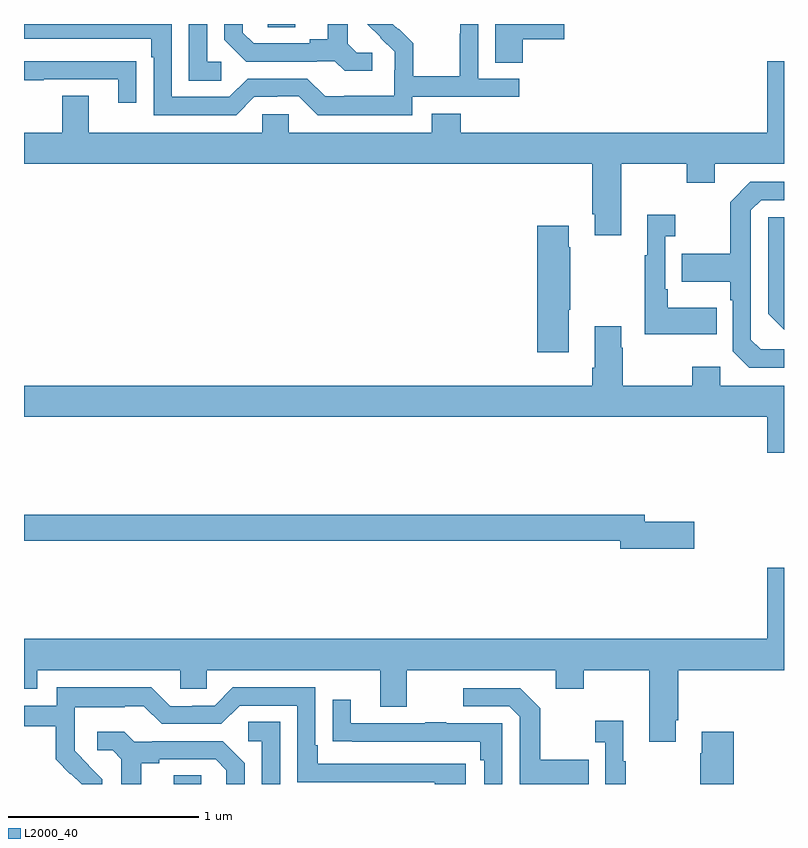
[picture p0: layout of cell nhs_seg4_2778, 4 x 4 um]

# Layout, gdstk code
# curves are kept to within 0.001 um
import gdstk
lib = gdstk.Library(unit=1e-6, precision=1e-09)
def R(c, l, rs):  # rectangles x0, y0, x1, y1
    for r in rs: c.add(gdstk.rectangle(r[:2], r[2:], *l))
def P(c, l, *ps):  # polygons
    for p in ps: c.add(gdstk.Polygon(p, *l))
L2000_40 = (2000, 40)

nhs_seg4_2778 = lib.new_cell('nhs_seg4_2778')
R(nhs_seg4_2778, L2000_40, [(257.789,782.9,257.934,782.945), (258.282,786.883,258.427,786.9)])
P(nhs_seg4_2778, L2000_40, [(259.044,786.516),(259.606,786.516),(259.606,786.612),(259.392,786.612),(259.392,786.9),(259.296,786.9),(259.296,786.848),(259.294,786.848),(259.294,786.625),(259.049,786.625),(259.049,786.799),(258.972,786.876),(258.969,786.873),(258.942,786.9),(258.806,786.9),(258.95,786.754),(258.95,786.657),(258.948,786.657),(258.948,786.523),(258.685,786.523),(258.685,786.519),(258.585,786.519),(258.492,786.612),(258.177,786.612),(258.081,786.516),(257.778,786.516),(257.778,786.9),(257,786.9),(257,786.822),(257.669,786.822),(257.669,786.725),(257.682,786.725),(257.682,786.42),(258.117,786.42),(258.213,786.516),(258.332,786.516),(258.332,786.519),(258.447,786.519),(258.547,786.419),(259.044,786.419)],
  [(258.037,786.702),(257.964,786.702),(257.964,786.9),(257.868,786.9),(257.868,786.601),(258.037,786.601)],
  [(259.625,786.821),(259.843,786.821),(259.843,786.9),(259.481,786.9),(259.481,786.697),(259.625,786.697)],
  [(258.832,786.75),(258.75,786.75),(258.703,786.797),(258.703,786.9),(258.599,786.9),(258.599,786.821),(258.503,786.821),(258.503,786.798),(258.208,786.798),(258.151,786.855),(258.151,786.9),(258.054,786.9),(258.054,786.818),(258.17,786.702),(258.542,786.702),(258.542,786.705),(258.636,786.705),(258.688,786.653),(258.832,786.653)],
  [(257.591,786.704),(257.489,786.704),(257.489,786.705),(257,786.705),(257,786.604),(257.105,786.604),(257.105,786.609),(257.495,786.609),(257.495,786.486),(257.591,786.486)],
  [(259.298,786.427),(259.145,786.427),(259.145,786.328),(258.393,786.328),(258.393,786.426),(258.255,786.426),(258.255,786.328),(257.341,786.328),(257.341,786.523),(257.201,786.523),(257.201,786.328),(257,786.328),(257,786.164),(259.991,786.164),(259.991,785.899),(260.003,785.899),(260.003,785.787),(260.143,785.787),(260.143,786.164),(260.488,786.164),(260.488,786.065),(260.635,786.065),(260.635,786.164),(261,786.164),(261,786.703),(260.912,786.703),(260.912,786.328),(259.298,786.328)],
  [(261,785.187),(260.877,785.187),(260.826,785.238),(260.826,785.919),(260.88,785.973),(261,785.973),(261,786.069),(260.823,786.069),(260.718,785.963),(260.718,785.691),(260.461,785.691),(260.461,785.543),(260.718,785.543),(260.718,785.447),(260.73,785.447),(260.73,785.178),(260.817,785.091),(261,785.091)],
  [(260.645,785.407),(260.389,785.407),(260.389,785.503),(260.376,785.503),(260.376,785.783),(260.428,785.783),(260.428,785.896),(260.279,785.896),(260.279,785.683),(260.267,785.683),(260.267,785.267),(260.645,785.267)],
  [(261,785.883),(260.916,785.883),(260.916,785.376),(261,785.292)],
  [(259.867,785.395),(259.875,785.395),(259.875,785.726),(259.867,785.726),(259.867,785.839),(259.7,785.839),(259.7,785.172),(259.867,785.172)],
  [(261,784.996),(260.664,784.996),(260.664,785.095),(260.517,785.095),(260.517,784.996),(260.151,784.996),(260.151,785.195),(260.143,785.195),(260.143,785.308),(260.003,785.308),(260.003,785.092),(259.991,785.092),(259.991,784.996),(257,784.996),(257,784.832),(260.912,784.832),(260.912,784.644),(261,784.644)],
  [(260.527,784.28),(260.266,784.28),(260.266,784.316),(257,784.316),(257,784.18),(260.138,784.18),(260.138,784.138),(260.527,784.138)],
  [(260.431,783.235),(260.444,783.235),(260.444,783.5),(261,783.5),(261,784.039),(260.912,784.039),(260.912,783.664),(257,783.664),(257,783.401),(257.071,783.401),(257.071,783.5),(257.823,783.5),(257.823,783.402),(257.961,783.402),(257.961,783.5),(258.875,783.5),(258.875,783.306),(259.015,783.306),(259.015,783.5),(259.799,783.5),(259.799,783.401),(259.947,783.401),(259.947,783.5),(260.291,783.5),(260.291,783.123),(260.431,783.123)],
  [(257.412,782.926),(257.266,783.074),(257.266,783.171),(257.268,783.171),(257.268,783.305),(257.531,783.305),(257.531,783.309),(257.631,783.309),(257.724,783.216),(258.039,783.216),(258.135,783.312),(258.438,783.312),(258.438,782.91),(259.163,782.91),(259.163,782.9),(259.324,782.9),(259.324,783.006),(258.547,783.006),(258.547,783.103),(258.534,783.103),(258.534,783.408),(258.099,783.408),(258.003,783.312),(257.885,783.312),(257.885,783.309),(257.769,783.309),(257.669,783.409),(257.172,783.409),(257.172,783.312),(257,783.312),(257,783.204),(257.167,783.204),(257.167,783.029),(257.244,782.952),(257.247,782.955),(257.303,782.9),(257.412,782.9)],
  [(259.973,783.027),(259.717,783.027),(259.717,783.299),(259.611,783.405),(259.311,783.405),(259.311,783.309),(259.554,783.309),(259.608,783.255),(259.608,782.9),(259.973,782.9)],
  [(259.518,783.219),(259.223,783.219),(259.223,783.224),(259.111,783.224),(259.111,783.219),(258.721,783.219),(258.721,783.343),(258.625,783.343),(258.625,783.124),(258.727,783.124),(258.727,783.123),(259.402,783.123),(259.402,783.026),(259.422,783.026),(259.422,782.9),(259.518,782.9)],
  [(260.166,783.019),(260.155,783.019),(260.155,783.232),(260.007,783.232),(260.007,783.119),(260.058,783.119),(260.058,782.9),(260.166,782.9)],
  [(258.348,783.227),(258.18,783.227),(258.18,783.126),(258.252,783.126),(258.252,782.9),(258.348,782.9)],
  [(257.617,783.008),(257.713,783.008),(257.713,783.03),(258.008,783.03),(258.065,782.973),(258.065,782.9),(258.162,782.9),(258.162,783.01),(258.046,783.126),(257.674,783.126),(257.674,783.123),(257.58,783.123),(257.528,783.175),(257.385,783.175),(257.385,783.078),(257.466,783.078),(257.513,783.031),(257.513,782.9),(257.617,782.9)],
  [(260.735,783.175),(260.567,783.175),(260.567,783.062),(260.56,783.062),(260.56,782.9),(260.735,782.9)])

lib.write_gds('nhs_seg4_2778.gds')
